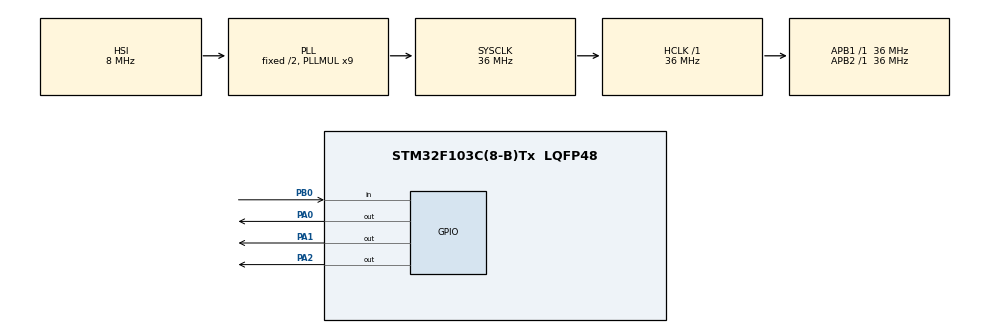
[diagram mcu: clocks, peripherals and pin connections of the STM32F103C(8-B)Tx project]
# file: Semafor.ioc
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Mcu.Family=STM32F1
Mcu.Name=STM32F103C(8-B)Tx
Mcu.Package=LQFP48
NVIC.PriorityGroup=NVIC_PRIORITYGROUP_4
PA0-WKUP.Signal=GPIO_Output
PA1.Signal=GPIO_Output
PA13.Mode=Serial_Wire
PA13.Signal=SYS_JTMS-SWDIO
PA14.Mode=Serial_Wire
PA14.Signal=SYS_JTCK-SWCLK
PA2.Signal=GPIO_Output
PB0.Signal=GPIO_Input
PD0-OSC_IN.Mode=HSE-External-Oscillator
PD0-OSC_IN.Signal=RCC_OSC_IN
PD1-OSC_OUT.Mode=HSE-External-Oscillator
PD1-OSC_OUT.Signal=RCC_OSC_OUT
ProjectManager.HeapSize=0x200
ProjectManager.StackSize=0x400
ProjectManager.TargetToolchain=STM32CubeIDE
RCC.AHBFreq_Value=36000000
RCC.APB1Freq_Value=36000000
RCC.APB1TimFreq_Value=36000000
RCC.APB2Freq_Value=36000000
RCC.APB2TimFreq_Value=36000000
RCC.HCLKFreq_Value=36000000
RCC.PLLMUL=RCC_PLL_MUL9
RCC.SYSCLKFreq_VALUE=36000000
RCC.SYSCLKSource=RCC_SYSCLKSOURCE_PLLCLK
RCC.USBFreq_Value=36000000
board=custom

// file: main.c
/* USER CODE BEGIN Header */
/**
  ******************************************************************************
  * @file           : main.c
  * @brief          : Main program body
  ******************************************************************************
  * @attention
  *
  * Copyright (c) 2022 STMicroelectronics.
  * All rights reserved.
  *
  * This software is licensed under terms that can be found in the LICENSE file
  * in the root directory of this software component.
  * If no LICENSE file comes with this software, it is provided AS-IS.
  *
  ******************************************************************************
  */
/* USER CODE END Header */
#include "main.h"

/* USER CODE BEGIN PD */
	/* ovde stavi define ako hoces da menjas nazive pinova*/
/* USER CODE END PD */

void SystemClock_Config(void);
static void MX_GPIO_Init(void);

int main(void)
{

  /* MCU Configuration--------------------------------------------------------*/

  /* Reset of all peripherals, Initializes the Flash interface and the Systick. */
  HAL_Init();

  /* Configure the system clock */
  SystemClock_Config();

  /* Initialize all configured peripherals */
  MX_GPIO_Init();

  /* Infinite loop */
  /* USER CODE BEGIN WHILE */
	  HAL_GPIO_WritePin(GPIOA, GPIO_PIN_0, GPIO_PIN_RESET); //0 je crvena
	  HAL_GPIO_WritePin(GPIOA, GPIO_PIN_1, GPIO_PIN_RESET); //1 je zuta
	  HAL_GPIO_WritePin(GPIOA, GPIO_PIN_2, GPIO_PIN_RESET); //2 je zelena

	  HAL_Delay(2000);  //ovo na pocetku stoji samo da vidim da li diode rade
while (1)
{
	//set gasi, reset pali, inverzno spojeno na plocicu
	HAL_GPIO_WritePin(GPIOA, GPIO_PIN_1, GPIO_PIN_SET);
	HAL_GPIO_WritePin(GPIOA, GPIO_PIN_2, GPIO_PIN_SET);

		  if(HAL_GPIO_ReadPin(GPIOA, GPIO_PIN_4))
		  {
			  HAL_Delay(5000);

			  HAL_GPIO_WritePin(GPIOA, GPIO_PIN_1, GPIO_PIN_RESET);
			  HAL_Delay(1500);

			  HAL_GPIO_WritePin(GPIOA, GPIO_PIN_0, GPIO_PIN_SET);
			  HAL_GPIO_WritePin(GPIOA, GPIO_PIN_1, GPIO_PIN_SET);
			  HAL_GPIO_WritePin(GPIOA, GPIO_PIN_2, GPIO_PIN_RESET);

			  HAL_Delay(10000);

			  int i=0;
			  while(i<5)
			  {
			  		HAL_GPIO_WritePin(GPIOA, GPIO_PIN_2, GPIO_PIN_SET); //2 je zelena
			  		HAL_Delay(500);
			  		HAL_GPIO_WritePin(GPIOA, GPIO_PIN_2, GPIO_PIN_RESET);
			  		HAL_Delay(500);
			  		i++;
			  }

			  HAL_GPIO_WritePin(GPIOA, GPIO_PIN_2, GPIO_PIN_SET);  //zelena se gasi
			  HAL_GPIO_WritePin(GPIOA, GPIO_PIN_1, GPIO_PIN_RESET);  //zuta se pali na 2 sekunde, pa se gasi
			  HAL_Delay(2000);
			  HAL_GPIO_WritePin(GPIOA, GPIO_PIN_1, GPIO_PIN_SET);
			  HAL_GPIO_WritePin(GPIOA, GPIO_PIN_0, GPIO_PIN_RESET);  //crvena se pali i tako ostaje dok se ponovo ne stisne dugme
		  }

}
    /* USER CODE END WHILE */

}

void SystemClock_Config(void)
{
  RCC_OscInitTypeDef RCC_OscInitStruct = {0};
  RCC_ClkInitTypeDef RCC_ClkInitStruct = {0};

  /** Initializes the RCC Oscillators according to the specified parameters
  * in the RCC_OscInitTypeDef structure.
  */
  RCC_OscInitStruct.OscillatorType = RCC_OSCILLATORTYPE_HSI;
  RCC_OscInitStruct.HSIState = RCC_HSI_ON;
  RCC_OscInitStruct.HSICalibrationValue = RCC_HSICALIBRATION_DEFAULT;
  RCC_OscInitStruct.PLL.PLLState = RCC_PLL_ON;
  RCC_OscInitStruct.PLL.PLLSource = RCC_PLLSOURCE_HSI_DIV2;
  RCC_OscInitStruct.PLL.PLLMUL = RCC_PLL_MUL9;
  if (HAL_RCC_OscConfig(&RCC_OscInitStruct) != HAL_OK)
  {
    Error_Handler();
  }

  /** Initializes the CPU, AHB and APB buses clocks
  */
  RCC_ClkInitStruct.ClockType = RCC_CLOCKTYPE_HCLK|RCC_CLOCKTYPE_SYSCLK
                              |RCC_CLOCKTYPE_PCLK1|RCC_CLOCKTYPE_PCLK2;
  RCC_ClkInitStruct.SYSCLKSource = RCC_SYSCLKSOURCE_PLLCLK;
  RCC_ClkInitStruct.AHBCLKDivider = RCC_SYSCLK_DIV1;
  RCC_ClkInitStruct.APB1CLKDivider = RCC_HCLK_DIV1;
  RCC_ClkInitStruct.APB2CLKDivider = RCC_HCLK_DIV1;

  if (HAL_RCC_ClockConfig(&RCC_ClkInitStruct, FLASH_LATENCY_1) != HAL_OK)
  {
    Error_Handler();
  }
}

static void MX_GPIO_Init(void)
{
  GPIO_InitTypeDef GPIO_InitStruct = {0};

  /* GPIO Ports Clock Enable */
  __HAL_RCC_GPIOD_CLK_ENABLE();
  __HAL_RCC_GPIOA_CLK_ENABLE();
  __HAL_RCC_GPIOB_CLK_ENABLE();

  /*Configure GPIO pin Output Level */
  HAL_GPIO_WritePin(GPIOA, GPIO_PIN_0|GPIO_PIN_1|GPIO_PIN_2, GPIO_PIN_RESET);

  /*Configure GPIO pins : PA0 PA1 PA2 */
  GPIO_InitStruct.Pin = GPIO_PIN_0|GPIO_PIN_1|GPIO_PIN_2;
  GPIO_InitStruct.Mode = GPIO_MODE_OUTPUT_PP;
  GPIO_InitStruct.Pull = GPIO_NOPULL;
  GPIO_InitStruct.Speed = GPIO_SPEED_FREQ_LOW;
  HAL_GPIO_Init(GPIOA, &GPIO_InitStruct);

  /*Configure GPIO pin : PB0 */
  GPIO_InitStruct.Pin = GPIO_PIN_0;
  GPIO_InitStruct.Mode = GPIO_MODE_INPUT;
  GPIO_InitStruct.Pull = GPIO_NOPULL;
  HAL_GPIO_Init(GPIOB, &GPIO_InitStruct);

}

void Error_Handler(void)
{
  __disable_irq();
  while (1)
  {
  }
}
